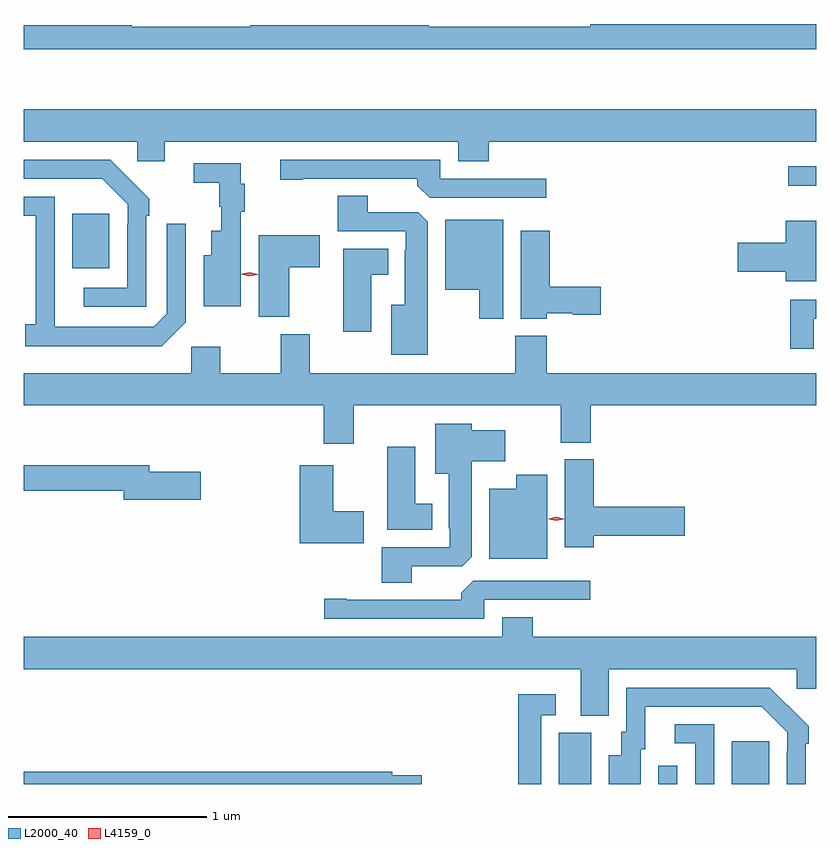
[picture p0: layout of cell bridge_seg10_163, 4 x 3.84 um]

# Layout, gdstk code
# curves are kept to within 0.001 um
import gdstk
lib = gdstk.Library(unit=1e-6, precision=1e-09)
def R(c, l, rs):  # rectangles x0, y0, x1, y1
    for r in rs: c.add(gdstk.rectangle(r[:2], r[2:], *l))
def P(c, l, *ps):  # polygons
    for p in ps: c.add(gdstk.Polygon(p, *l))
L2000_40 = (2000, 40)
L4159_0 = (4159, 0)

bridge_seg10_163 = lib.new_cell('bridge_seg10_163')
R(bridge_seg10_163, L2000_40, [(241.022,1269.101,241.186,1269.36), (241.524,1269.101,241.62,1269.193), (241.895,1269.101,242.083,1269.316), (238.565,1271.705,238.753,1271.98), (242.181,1272.122,242.321,1272.219)])
P(bridge_seg10_163, L2000_40, [(242.321,1272.938),(241.181,1272.938),(241.181,1272.923),(240.365,1272.923),(240.365,1272.931),(239.465,1272.931),(239.465,1272.923),(238.865,1272.923),(238.865,1272.931),(238.321,1272.931),(238.321,1272.81),(242.321,1272.81)],
  [(240.668,1272.344),(242.321,1272.344),(242.321,1272.508),(238.321,1272.508),(238.321,1272.344),(238.893,1272.344),(238.893,1272.246),(239.032,1272.246),(239.032,1272.344),(240.515,1272.344),(240.515,1272.245),(240.668,1272.245)],
  [(240.958,1272.156),(240.423,1272.156),(240.423,1272.252),(239.616,1272.252),(239.616,1272.151),(239.728,1272.151),(239.728,1272.156),(240.308,1272.156),(240.308,1272.122),(240.369,1272.06),(240.958,1272.06)],
  [(238.938,1271.969),(238.953,1271.969),(238.953,1272.057),(238.756,1272.252),(238.321,1272.252),(238.321,1272.156),(238.717,1272.156),(238.845,1272.027),(238.845,1271.927),(238.842,1271.927),(238.842,1271.607),(238.623,1271.607),(238.623,1271.511),(238.938,1271.511)],
  [(239.416,1271.989),(239.435,1271.989),(239.435,1272.131),(239.417,1272.131),(239.417,1272.234),(239.178,1272.234),(239.178,1272.136),(239.307,1272.136),(239.307,1272.015),(239.318,1272.015),(239.318,1271.893),(239.267,1271.893),(239.267,1271.77),(239.228,1271.77),(239.228,1271.513),(239.416,1271.513)],
  [(240.361,1271.939),(240.312,1271.988),(240.058,1271.988),(240.058,1272.071),(239.906,1272.071),(239.906,1271.892),(240.249,1271.892),(240.249,1271.795),(240.245,1271.795),(240.245,1271.521),(240.176,1271.521),(240.176,1271.267),(240.361,1271.267)],
  [(239.139,1271.433),(239.139,1271.929),(239.043,1271.929),(239.043,1271.475),(238.977,1271.409),(238.477,1271.409),(238.476,1272.066),(238.321,1272.066),(238.321,1271.97),(238.38,1271.97),(238.38,1271.422),(238.329,1271.422),(238.329,1271.312),(239.018,1271.312)],
  [(240.742,1271.95),(240.449,1271.95),(240.449,1271.597),(240.62,1271.597),(240.62,1271.451),(240.742,1271.451)],
  [(242.321,1271.944),(242.168,1271.944),(242.168,1271.834),(241.926,1271.834),(241.926,1271.687),(242.168,1271.687),(242.168,1271.639),(242.321,1271.639)],
  [(240.96,1271.477),(241.091,1271.477),(241.091,1271.47),(241.234,1271.47),(241.234,1271.612),(240.977,1271.612),(240.977,1271.893),(240.83,1271.893),(240.83,1271.45),(240.96,1271.45)],
  [(239.662,1271.71),(239.815,1271.71),(239.815,1271.872),(239.507,1271.872),(239.507,1271.459),(239.662,1271.459)],
  [(240.076,1271.672),(240.16,1271.672),(240.16,1271.803),(239.933,1271.803),(239.933,1271.385),(240.076,1271.385)],
  [(242.308,1271.451),(242.321,1271.451),(242.321,1271.547),(242.191,1271.547),(242.191,1271.298),(242.308,1271.298)],
  [(239.986,1271.012),(241.031,1271.012),(241.031,1270.825),(241.184,1270.825),(241.184,1271.012),(242.321,1271.012),(242.321,1271.176),(240.962,1271.176),(240.962,1271.365),(240.802,1271.365),(240.802,1271.176),(239.764,1271.176),(239.764,1271.371),(239.617,1271.371),(239.617,1271.176),(239.313,1271.176),(239.313,1271.308),(239.166,1271.308),(239.166,1271.176),(238.321,1271.176),(238.321,1271.012),(239.834,1271.012),(239.834,1270.818),(239.986,1270.818)],
  [(240.28,1270.2),(240.534,1270.2),(240.583,1270.249),(240.583,1270.73),(240.751,1270.73),(240.751,1270.888),(240.583,1270.888),(240.583,1270.921),(240.398,1270.921),(240.398,1270.667),(240.467,1270.667),(240.467,1270.393),(240.471,1270.393),(240.471,1270.296),(240.128,1270.296),(240.128,1270.117),(240.28,1270.117)],
  [(240.382,1270.516),(240.298,1270.516),(240.298,1270.804),(240.155,1270.804),(240.155,1270.385),(240.382,1270.385)],
  [(241.199,1270.355),(241.657,1270.355),(241.657,1270.502),(241.199,1270.502),(241.199,1270.74),(241.052,1270.74),(241.052,1270.296),(241.199,1270.296)],
  [(240.037,1270.479),(239.884,1270.479),(239.884,1270.711),(239.714,1270.711),(239.714,1270.316),(240.037,1270.316)],
  [(239.215,1270.677),(238.954,1270.677),(238.954,1270.711),(238.321,1270.711),(238.321,1270.582),(238.826,1270.582),(238.826,1270.535),(239.215,1270.535)],
  [(240.964,1270.663),(240.806,1270.663),(240.806,1270.591),(240.671,1270.591),(240.671,1270.238),(240.964,1270.238)],
  [(240.645,1270.032),(241.18,1270.032),(241.18,1270.128),(240.591,1270.128),(240.53,1270.066),(240.53,1270.032),(239.95,1270.032),(239.95,1270.037),(239.838,1270.037),(239.838,1269.936),(240.645,1269.936)],
  [(241.273,1269.68),(242.223,1269.68),(242.223,1269.582),(242.321,1269.582),(242.321,1269.844),(240.89,1269.844),(240.89,1269.943),(240.737,1269.943),(240.737,1269.844),(238.321,1269.844),(238.321,1269.68),(241.133,1269.68),(241.133,1269.445),(241.273,1269.445)],
  [(241.435,1269.276),(241.459,1269.276),(241.459,1269.492),(242.047,1269.492),(242.175,1269.363),(242.175,1269.263),(242.172,1269.263),(242.172,1269.101),(242.268,1269.101),(242.268,1269.305),(242.283,1269.305),(242.283,1269.393),(242.086,1269.588),(241.362,1269.588),(241.362,1269.366),(241.337,1269.366),(241.337,1269.247),(241.274,1269.247),(241.274,1269.101),(241.435,1269.101)],
  [(240.933,1269.447),(241.006,1269.447),(241.006,1269.553),(240.817,1269.553),(240.817,1269.101),(240.933,1269.101)],
  [(241.806,1269.402),(241.608,1269.402),(241.608,1269.306),(241.71,1269.306),(241.71,1269.101),(241.806,1269.101)],
  [(240.329,1269.144),(240.182,1269.144),(240.182,1269.164),(238.321,1269.164),(238.321,1269.101),(240.329,1269.101)])
P(bridge_seg10_163, L4159_0, [(241.009,1270.429),(240.972,1270.438),(240.971,1270.439),(240.972,1270.439),(241.009,1270.449),(241.047,1270.439),(241.047,1270.439),(241.047,1270.438)],
  [(239.46,1271.664),(239.42,1271.675),(239.419,1271.675),(239.42,1271.676),(239.461,1271.684),(239.502,1271.674),(239.502,1271.674),(239.502,1271.673)])

lib.write_gds('bridge_seg10_163.gds')
